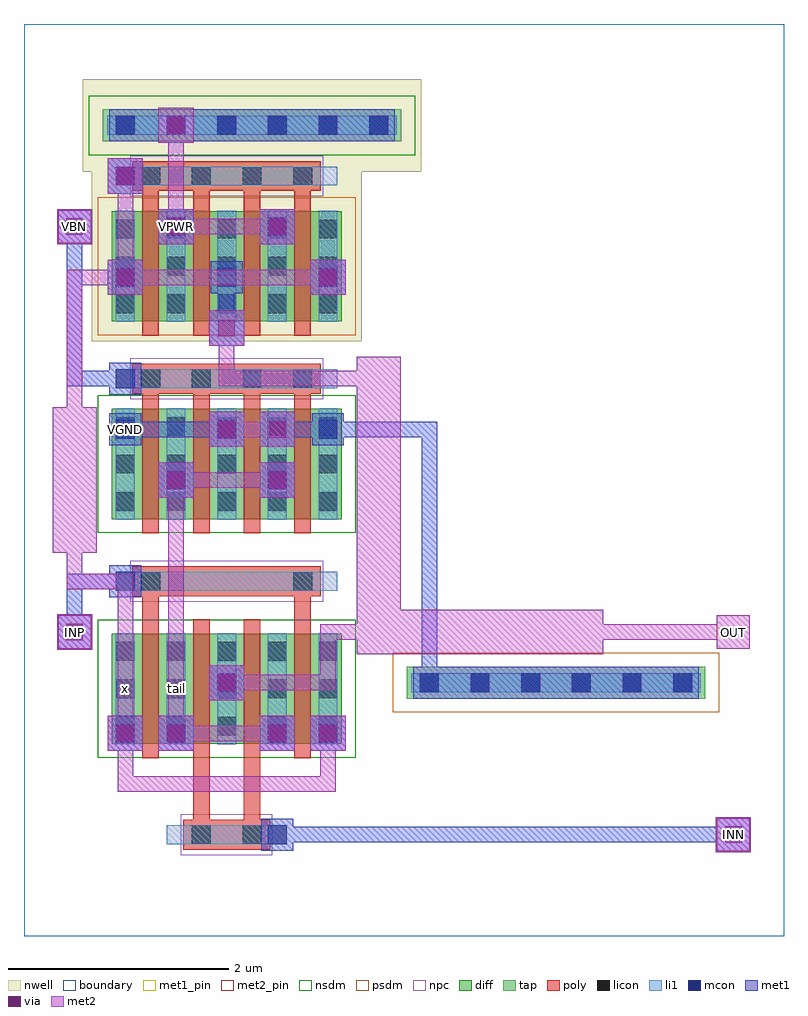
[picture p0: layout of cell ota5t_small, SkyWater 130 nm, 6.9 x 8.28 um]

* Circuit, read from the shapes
.subckt ota5t_small INN INP OUT VBN VGND VPWR tail x
XM1 tail INP x VGND sky130_fd_pr__nfet_01v8 w=1 l=0.15 m=2
XM2 tail VBN VGND VGND sky130_fd_pr__nfet_01v8 w=1 l=0.15 m=4
XM3 OUT INN tail VGND sky130_fd_pr__nfet_01v8 w=1 l=0.15 m=2
XM4 VPWR x x VPWR sky130_fd_pr__pfet_01v8 w=1 l=0.15 m=2
XM5 OUT x VPWR VPWR sky130_fd_pr__pfet_01v8 w=1 l=0.15 m=2
.ends

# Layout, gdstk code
import gdstk
lib = gdstk.Library(unit=1e-6, precision=1e-09)
def R(c, l, rs):  # rectangles x0, y0, x1, y1
    for r in rs: c.add(gdstk.rectangle(r[:2], r[2:], *l))
def A(c, l, x, y, w, h, nx, ny, dx, dy):  # array of equal rectangles
    R(c, l, [(x+i*dx, y+j*dy, x+i*dx+w, y+j*dy+h) for i in range(nx) for j in range(ny)])
nwell = (64, 20)
diff = (65, 20)
tap = (65, 44)
poly = (66, 20)
licon = (66, 44)
li1 = (67, 20)
mcon = (67, 44)
met1_pin = (68, 16)
met1 = (68, 20)
via = (68, 44)
met2_pin = (69, 16)
met2 = (69, 20)
nsdm = (93, 44)
psdm = (94, 20)
npc = (95, 20)
boundary = (235, 4)

ota5t_small = lib.new_cell('ota5t_small')
R(ota5t_small, nwell, [(0.615,5.4,3.065,6.94), (0.535,6.94,3.605,7.78)])
R(ota5t_small, diff, [(0.795,1.745,2.885,2.745), (0.795,3.785,2.885,4.785), (0.795,5.58,2.885,6.58)])
R(ota5t_small, tap, [(3.475,2.155,6.185,2.445), (0.715,7.215,3.425,7.505)])
A(ota5t_small, poly, 0.985, 3.085, 1.71, 0.27, 1, 3, 0, 1.84)
A(ota5t_small, poly, 1.075, 3.655, 0.15, 1.405, 4, 1, 0.46, 0)
A(ota5t_small, poly, 1.075, 5.45, 0.15, 1.45, 4, 1, 0.46, 0)
R(ota5t_small, poly, [(1.445,0.785,2.235,1.055), (1.535,0.92,1.685,2.875), (1.995,0.92,2.145,2.875), (1.075,1.615,1.225,3.22), (2.455,1.615,2.605,3.22)])
A(ota5t_small, licon, 0.835, 1.82, 0.17, 0.17, 5, 3, 0.46, 0.34)
A(ota5t_small, licon, 3.595, 2.215, 0.17, 0.17, 6, 1, 0.46, 0)
A(ota5t_small, licon, 0.835, 3.86, 0.17, 0.17, 5, 3, 0.46, 0.34)
A(ota5t_small, licon, 1.065, 4.975, 0.17, 0.17, 4, 2, 0.46, 1.84)
A(ota5t_small, licon, 0.835, 5.655, 0.17, 0.17, 5, 3, 0.46, 0.34)
A(ota5t_small, licon, 0.835, 7.275, 0.17, 0.17, 6, 1, 0.46, 0)
R(ota5t_small, licon, [(1.525,0.835,1.695,1.005), (1.985,0.835,2.155,1.005), (1.065,3.135,1.235,3.305), (2.445,3.135,2.615,3.305)])
A(ota5t_small, li1, 0.835, 1.74, 0.17, 1.01, 5, 2, 0.46, 2.04)
A(ota5t_small, li1, 0.835, 3.135, 2.01, 0.17, 1, 3, 0, 1.84)
A(ota5t_small, li1, 0.835, 5.575, 0.17, 1.01, 5, 1, 0.46, 0)
R(ota5t_small, li1, [(1.295,0.835,2.385,1.005), (3.515,2.215,6.145,2.385), (0.755,7.275,3.385,7.445)])
A(ota5t_small, mcon, 1.295, 1.755, 0.17, 0.17, 1, 3, 0, 2.3)
A(ota5t_small, mcon, 2.215, 1.755, 0.17, 0.17, 1, 3, 0, 2.3)
A(ota5t_small, mcon, 3.595, 2.215, 0.17, 0.17, 6, 1, 0.46, 0)
A(ota5t_small, mcon, 0.835, 3.135, 0.17, 0.17, 1, 3, 0, 1.84)
A(ota5t_small, mcon, 0.835, 4.515, 0.17, 0.17, 3, 2, 0.92, 1.38)
A(ota5t_small, mcon, 0.835, 7.275, 0.17, 0.17, 6, 1, 0.46, 0)
R(ota5t_small, mcon, [(2.215,0.835,2.385,1.005), (0.835,1.755,1.005,1.925), (2.675,1.755,2.845,1.925), (1.755,2.215,1.925,2.385)])
R(ota5t_small, met1_pin, [(0.775,4.455,1.065,4.745), (1.235,6.295,1.525,6.585)])
A(ota5t_small, met1, 1.235, 1.695, 0.29, 0.29, 1, 3, 0, 2.3)
A(ota5t_small, met1, 2.155, 1.695, 0.29, 0.29, 1, 3, 0, 2.3)
A(ota5t_small, met1, 0.775, 3.075, 0.29, 0.29, 1, 3, 0, 1.84)
A(ota5t_small, met1, 0.775, 4.455, 0.29, 0.29, 3, 2, 0.92, 1.38)
A(ota5t_small, met1, 0.3, 6.28, 0.32, 0.32, 3, 1, 0.92, 0)
R(ota5t_small, met1, [(6.28,0.76,6.6,1.08), (2.155,0.775,2.445,1.065), (2.23,0.85,6.51,0.99), (0.76,1.68,1.08,2), (1.22,1.68,1.54,2), (2.14,1.68,2.46,2), (2.6,1.68,2.92,2), (0.775,1.695,1.065,1.985), (2.615,1.695,2.905,1.985), (1.68,2.14,2,2.46), (1.695,2.155,1.985,2.445), (3.535,2.155,6.125,2.445), (3.61,2.23,3.75,2.37), (3.61,2.23,3.75,4.67), (0.3,2.6,0.62,2.92), (0.39,2.69,0.53,3.29), (0.39,3.15,0.99,3.29), (1.22,3.98,1.54,4.3), (2.14,3.98,2.46,4.3), (1.68,4.44,2,4.76), (2.14,4.44,2.46,4.76), (0.85,4.53,1.91,4.67), (2.23,4.53,2.83,4.67), (2.69,4.53,3.75,4.67), (0.39,4.99,0.99,5.13), (0.39,4.99,0.53,6.51), (1.68,5.36,2,5.68), (1.77,5.45,1.91,6.05), (0.76,5.82,1.08,6.14), (2.6,5.82,2.92,6.14), (0.76,6.74,1.08,7.06), (1.22,7.2,1.54,7.52), (0.775,7.215,3.365,7.505), (1.31,7.29,1.45,7.43)])
A(ota5t_small, via, 0.385, 6.365, 0.15, 0.15, 3, 1, 0.92, 0)
R(ota5t_small, via, [(6.365,0.845,6.515,0.995), (0.845,1.765,0.995,1.915), (1.305,1.765,1.455,1.915), (2.225,1.765,2.375,1.915), (2.685,1.765,2.835,1.915), (1.765,2.225,1.915,2.375), (0.385,2.685,0.535,2.835), (1.305,4.065,1.455,4.215), (2.225,4.065,2.375,4.215), (1.765,4.525,1.915,4.675), (2.225,4.525,2.375,4.675), (1.765,5.445,1.915,5.595), (0.845,5.905,0.995,6.055), (2.685,5.905,2.835,6.055), (0.845,6.825,0.995,6.975), (1.305,7.285,1.455,7.435)])
R(ota5t_small, met2_pin, [(6.29,0.77,6.59,1.07), (0.31,2.61,0.61,2.91), (6.29,2.61,6.59,2.91), (0.31,6.29,0.61,6.59)])
A(ota5t_small, met2, 1.31, 1.77, 1.06, 0.14, 1, 3, 0, 2.3)
A(ota5t_small, met2, 0.3, 6.28, 0.32, 0.32, 3, 1, 0.92, 0)
R(ota5t_small, met2, [(6.28,0.76,6.6,1.08), (6.29,0.77,6.59,1.07), (6.37,0.85,6.51,0.99), (0.85,1.31,0.99,1.91), (0.85,1.31,2.83,1.45), (2.69,1.31,2.83,1.91), (0.76,1.68,1.08,2), (1.22,1.68,1.54,2), (2.14,1.68,2.46,2), (2.6,1.68,2.92,2), (0.85,1.77,0.99,3.29), (1.31,1.77,1.45,4.21), (1.68,2.14,2,2.46), (1.77,2.23,2.83,2.37), (2.69,2.23,2.83,2.83), (3.02,2.56,5.26,2.96), (3.02,2.56,3.42,5.26), (0.3,2.6,0.62,2.92), (0.31,2.61,0.61,2.91), (6.29,2.61,6.59,2.91), (0.39,2.69,0.53,2.83), (2.69,2.69,3.29,2.83), (4.99,2.69,6.51,2.83), (6.37,2.69,6.51,2.83), (0.39,3.15,0.53,3.75), (0.39,3.15,0.99,3.29), (0.26,3.48,0.66,4.8), (1.22,3.98,1.54,4.3), (2.14,3.98,2.46,4.3), (1.68,4.44,2,4.76), (2.14,4.44,2.46,4.76), (0.39,4.53,0.53,6.05), (1.77,4.53,2.37,4.67), (1.77,4.99,1.91,5.59), (1.77,4.99,3.29,5.13), (1.68,5.36,2,5.68), (0.76,5.82,1.08,6.14), (2.6,5.82,2.92,6.14), (0.39,5.91,0.99,6.05), (0.85,5.91,2.83,6.05), (0.85,5.91,0.99,6.97), (0.31,6.29,0.61,6.59), (0.39,6.37,0.53,6.51), (1.31,6.37,1.45,7.43), (0.76,6.74,1.08,7.06), (1.22,7.2,1.54,7.52)])
R(ota5t_small, nsdm, [(0.67,1.62,3.01,2.87), (0.67,3.66,3.01,4.91), (0.59,7.09,3.55,7.63)])
R(ota5t_small, psdm, [(3.35,2.03,6.31,2.57), (0.67,5.455,3.01,6.705)])
A(ota5t_small, npc, 0.965, 3.035, 1.75, 0.37, 1, 3, 0, 1.84)
R(ota5t_small, npc, [(1.425,0.735,2.255,1.105)])
R(ota5t_small, boundary, [(0,0,6.9,8.28)])
ota5t_small.add(gdstk.Label('x', (0.92,2.245), layer=67, texttype=5))
ota5t_small.add(gdstk.Label('tail', (1.38,2.245), layer=67, texttype=5))
ota5t_small.add(gdstk.Label('VPWR', (1.38,6.44), layer=68, texttype=5))
ota5t_small.add(gdstk.Label('VGND', (0.92,4.6), layer=68, texttype=5))
ota5t_small.add(gdstk.Label('INP', (0.46,2.76), layer=69, texttype=5))
ota5t_small.add(gdstk.Label('INN', (6.44,0.92), layer=69, texttype=5))
ota5t_small.add(gdstk.Label('VBN', (0.46,6.44), layer=69, texttype=5))
ota5t_small.add(gdstk.Label('OUT', (6.44,2.76), layer=69, texttype=5))
ota5t_small.add(gdstk.Label('VPWR', (1.38,6.44), layer=68, texttype=16))
ota5t_small.add(gdstk.Label('VGND', (0.92,4.6), layer=68, texttype=16))
ota5t_small.add(gdstk.Label('INP', (0.46,2.76), layer=69, texttype=16))
ota5t_small.add(gdstk.Label('INN', (6.44,0.92), layer=69, texttype=16))
ota5t_small.add(gdstk.Label('VBN', (0.46,6.44), layer=69, texttype=16))
ota5t_small.add(gdstk.Label('OUT', (6.44,2.76), layer=69, texttype=16))

lib.write_gds('ota5t_small.gds')
